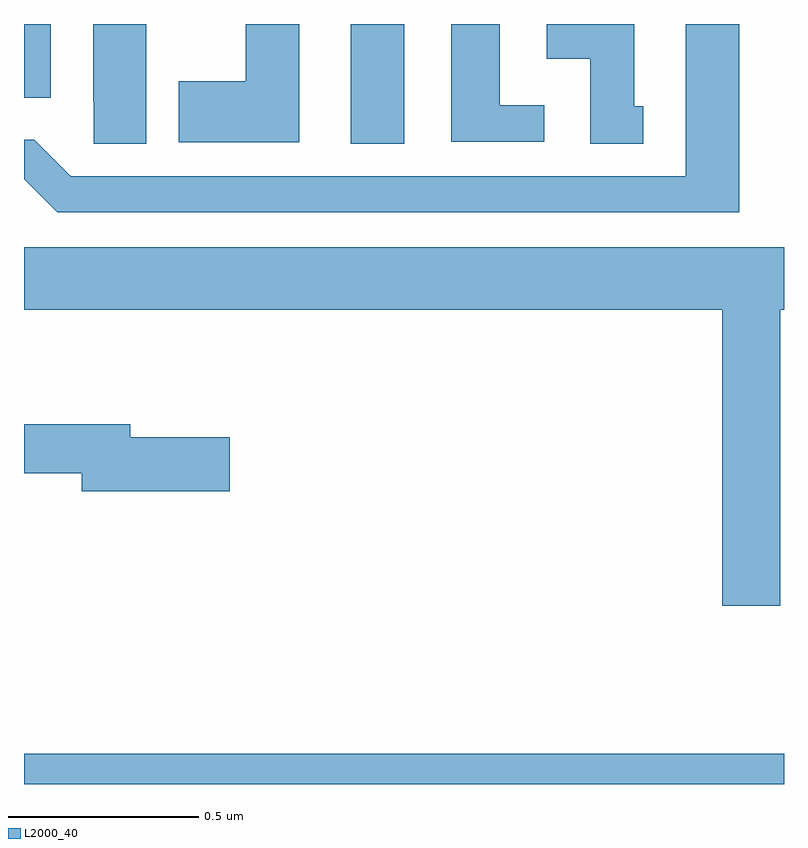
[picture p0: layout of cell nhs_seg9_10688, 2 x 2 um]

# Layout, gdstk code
import gdstk
lib = gdstk.Library(unit=1e-6, precision=1e-09)
def R(c, l, rs):  # rectangles x0, y0, x1, y1
    for r in rs: c.add(gdstk.rectangle(r[:2], r[2:], *l))
def P(c, l, *ps):  # polygons
    for p in ps: c.add(gdstk.Polygon(p, *l))
L2000_40 = (2000, 40)

nhs_seg9_10688 = lib.new_cell('nhs_seg9_10688')
R(nhs_seg9_10688, L2000_40, [(246,1200.5,248,1200.58), (246.86,1202.185,247,1202.5), (246,1202.306,246.07,1202.5)])
P(nhs_seg9_10688, L2000_40, [(247.369,1202.286),(247.252,1202.286),(247.252,1202.5),(247.124,1202.5),(247.124,1202.19),(247.369,1202.19)],
  [(247.63,1202.283),(247.606,1202.283),(247.606,1202.5),(247.376,1202.5),(247.376,1202.408),(247.49,1202.408),(247.49,1202.185),(247.63,1202.185)],
  [(246.322,1202.5),(246.182,1202.5),(246.182,1202.296),(246.183,1202.296),(246.183,1202.185),(246.322,1202.185)],
  [(246.724,1202.5),(246.584,1202.5),(246.584,1202.349),(246.407,1202.349),(246.407,1202.189),(246.724,1202.189)],
  [(247.882,1202.5),(247.742,1202.5),(247.742,1202.1),(246.123,1202.1),(246.027,1202.196),(246,1202.196),(246,1202.091),(246.087,1202.004),(247.882,1202.004)],
  [(247.99,1201.748),(248,1201.748),(248,1201.912),(246,1201.912),(246,1201.748),(247.838,1201.748),(247.838,1200.969),(247.99,1200.969)],
  [(246.541,1201.413),(246.28,1201.413),(246.28,1201.447),(246,1201.447),(246,1201.318),(246.152,1201.318),(246.152,1201.271),(246.541,1201.271)])

lib.write_gds('nhs_seg9_10688.gds')
